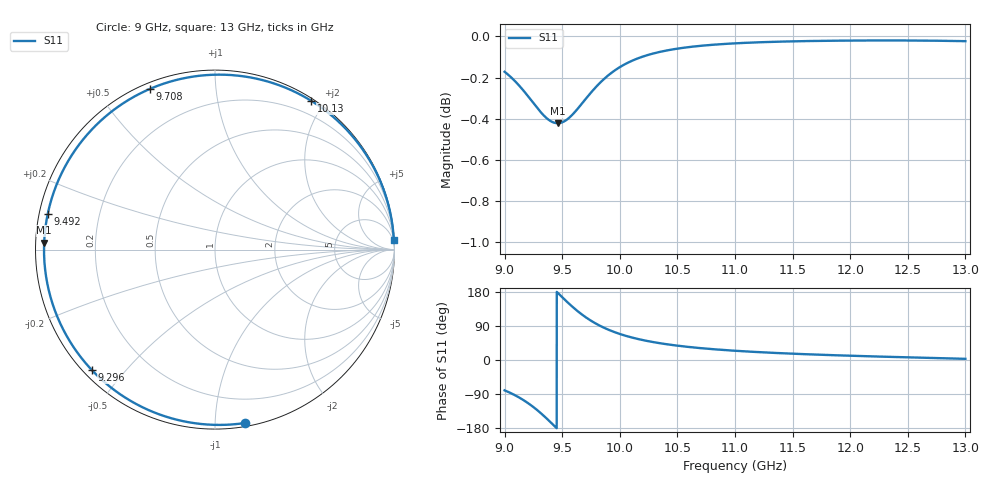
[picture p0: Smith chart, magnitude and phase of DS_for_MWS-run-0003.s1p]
! TOUCHSTONE file generated by CST DESIGN STUDIO
! Date and time: Tue Feb  4 14:09:26 2025
! Project name: C:\Work\MatlabApps\UnitCellOptimizationMatlab\CST\unitcell.cst
! Tree item: Tasks\Sweep1\SPara1\S-Parameters
! Header version: 2024
! Port assignment regex: !\s*Touchstone port\s*([0-9]+)\s*=\s*(CST MWS port|CST DES external port|CST DES block port)\s*(.+)\s* \(\"(.*)\"\)(\s*mode\s*([0-9]+))?.*
! Touchstone port assignment:
! Touchstone port 1 = CST DES external port 1 ("")
# GHz S MA R 50
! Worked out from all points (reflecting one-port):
!   4001 points, 9 GHz to 13 GHz, reference 50 ohm
!   lowest |S11| = -0.4 dB at 9.46 GHz (marker M1), VSWR 41.20, Z = 1.21 + j1.04 ohm
!   phase of S11 starts at -80 deg and turns -277 deg over the sweep
!   S11 on the Smith chart (normalised r, x): 9 GHz: 0.02, -1.19; 9.296 GHz: 0.02, -0.41; 9.492 GHz: 0.02, +0.10; 9.708 GHz: 0.03, +0.67; 10.13 GHz: 0.03, +1.84; 13 GHz: 2, +37
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9  0.9804 -80.1
9.072  0.9764 -90.1
9.167  0.9699 -106.4
9.233  0.9648 -120.3
9.296  0.9598 -135.5
9.339  0.9568 -147.0
9.384  0.9544 -159.8
9.423  0.953 -171.3
9.46  0.9526 177.6
9.492  0.9529 168.0
9.5  0.9531 165.7
9.549  0.9549 151.5
9.606  0.9583 136.0
9.656  0.962 123.6
9.708  0.966 112.0
9.765  0.9702 100.9
9.829  0.9744 90.1
9.912  0.9791 78.6
10  0.983 68.7
10.134  0.9872 57.1
10.299  0.9907 46.8
10.5  0.9932 37.8
10.722  0.9949 30.8
11  0.9962 24.4
11.5  0.9973 16.6
12  0.9977 11.3
12.5  0.9977 7.0
13  0.9974 3.1
